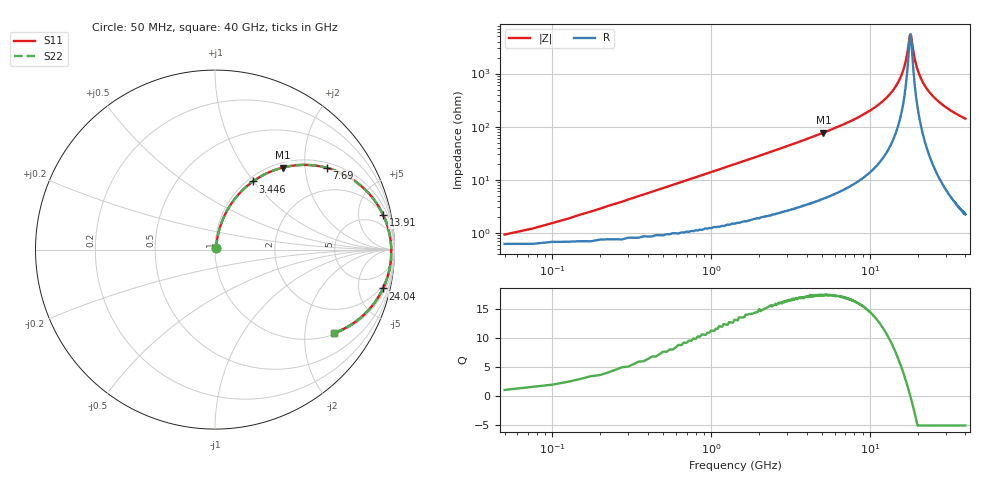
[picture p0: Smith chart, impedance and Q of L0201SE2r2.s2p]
# MHZ S MA R 50
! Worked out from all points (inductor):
!   1601 points, 50 MHz to 40 GHz, reference 50 ohm
!   read as one part in series: L = 2.2 nH near 249.8 MHz
!   highest Q = 17.5 at 5.094 GHz (marker M1), where L = 2.39 nH
!   self-resonance near 18.02 GHz
!   S11 on the Smith chart (normalised r, x): 50 MHz: 1.01, +0.01; 3.446 GHz: 1.06, +0.99; 7.69 GHz: 1.16, +2.60; 13.91 GHz: 2.06, +9.41; 24.04 GHz: 1.50, -8.51; 40 GHz: 1.04, -2.82
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50  0.009303 47.2  0.994 -0.4  0.994 -0.4  0.009303 47.2
324.656  0.045 77.3  0.991 -2.5  0.991 -2.5  0.045 77.3
449.5  0.062 78.4  0.989 -3.5  0.989 -3.5  0.062 78.4
998.813  0.136 77.1  0.979 -7.8  0.979 -7.8  0.136 77.1
1972.594  0.262 71.0  0.947 -15.2  0.947 -15.2  0.262 71.0
3445.75  0.434 61.0  0.876 -25.7  0.876 -25.7  0.434 61.0
5093.688  0.592 50.5  0.773 -36.2  0.773 -36.2  0.592 50.5
6716.656  0.713 41.3  0.661 -45.4  0.661 -45.4  0.713 41.3
7690.438  0.771 36.3  0.593 -50.3  0.593 -50.3  0.771 36.3
13383.31  0.95 13.3  0.231 -70.9  0.231 -70.9  0.95 13.3
13907.66  0.957 11.6  0.202 -71.9  0.202 -71.9  0.957 11.6
16304.66  0.977 4.5  0.081 -71.4  0.081 -71.4  0.977 4.5
17003.78  0.98 2.6  0.049 -64.8  0.049 -64.8  0.98 2.6
18002.53  0.982 0.0  0.018 -2.3  0.018 -2.3  0.982 0.0
18277.19  0.982 -0.6  0.021 31.7  0.021 31.7  0.982 -0.6
19176.06  0.982 -2.8  0.052 68.2  0.052 68.2  0.982 -2.8
20025  0.98 -4.8  0.085 74.3  0.085 74.3  0.98 -4.8
21722.88  0.974 -8.4  0.147 75.8  0.147 75.8  0.974 -8.4
24044.97  0.961 -13.0  0.226 73.6  0.226 73.6  0.961 -13.0
26691.66  0.941 -17.7  0.304 70.0  0.304 70.0  0.941 -17.7
33358.31  0.877 -27.4  0.461 61.3  0.461 61.3  0.877 -27.4
40000  0.81 -35.0  0.574 54.1  0.574 54.1  0.81 -35.0
